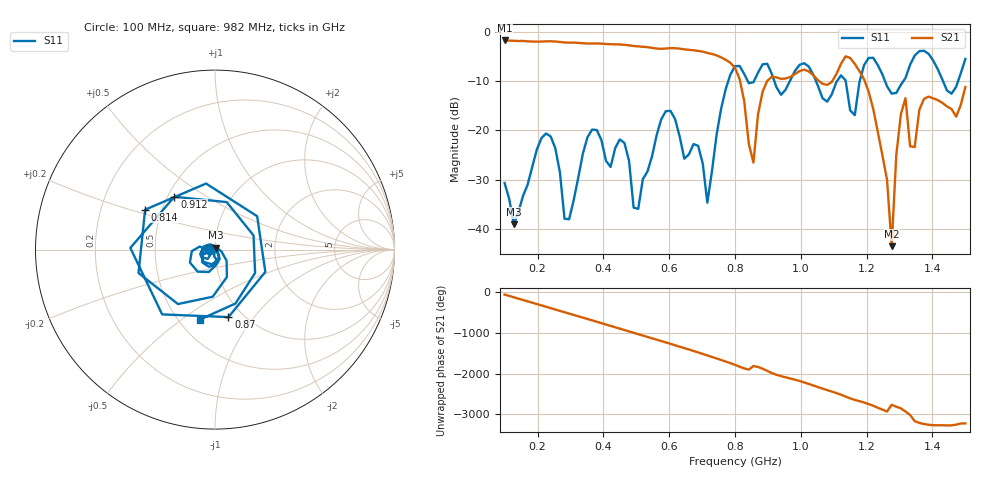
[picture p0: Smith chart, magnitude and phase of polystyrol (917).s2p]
! NanoVNA-App
! Date: 2025-09-25 15:37:01
! Start: 100MHz Stop: 1,5GHz Points: 101
! S-Parameter data: F S11 S21 S12 S22
# Hz S RI R 50
!  Frequency  S11_Real  S11_Imag  S21_Real  S21_Imag  S12_Real  S12_Imag  S22_Real  S22_Imag
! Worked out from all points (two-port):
!   101 points, 100 MHz to 1.5 GHz, reference 50 ohm
!   highest |S21| = -1.80 dB at 100 MHz (marker M1); lowest = -43.5 dB at 1.276 GHz (marker M2)
!   |S21| within 3 dB of the highest: start of sweep to 743 MHz
!   lowest |S11| = -39.1 dB at 128 MHz (marker M3), VSWR 1.02, Z = 50.3 + j1.07 ohm
!   |S11| at or under -10 dB: start of sweep to 779.7 MHz; 1.046 GHz to 1.11 GHz (64.61 MHz wide, 5.99 % of centre); 1.256 GHz to 1.312 GHz (56.45 MHz wide, 4.4 % of centre) (the widest 3 of 7)
!   S12 and S22 are empty: the file has one direction only
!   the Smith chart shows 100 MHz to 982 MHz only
!   S11 on the Smith chart (normalised r, x): 100 MHz: 0.94, -0.01; 814 MHz: 0.40, +0.22; 870 MHz: 0.86, -0.75; 912 MHz: 0.54, +0.37; 982 MHz: 0.63, -0.59
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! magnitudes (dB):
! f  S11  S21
! 100 MHz  -30.7  -1.8
! 128 MHz  -39.1  -1.9
! 212 MHz  -21.6  -2.0
! 282 MHz  -37.9  -2.2
! 338 MHz  -24.7  -2.4
! 464 MHz  -22.6  -2.7
! 506 MHz  -35.9  -3.0
! 576 MHz  -17.8  -3.5
! 716 MHz  -34.7  -4.3
! 800 MHz  -7.0  -7.4
! 814 MHz  -7.0  -9.6
! 856 MHz  -10.3  -26.6
! 870 MHz  -8.3  -16.8
! 912 MHz  -8.6  -9.2
! 982 MHz  -8.0  -8.6
! 1.038 GHz  -8.7  -8.9
! 1.164 GHz  -16.9  -6.6
! 1.192 GHz  -6.8  -9.6
! 1.276 GHz  -12.6  -43.5
! 1.318 GHz  -9.4  -13.5
! 1.346 GHz  -4.9  -23.4
! 1.5 GHz  -5.6  -11.2
